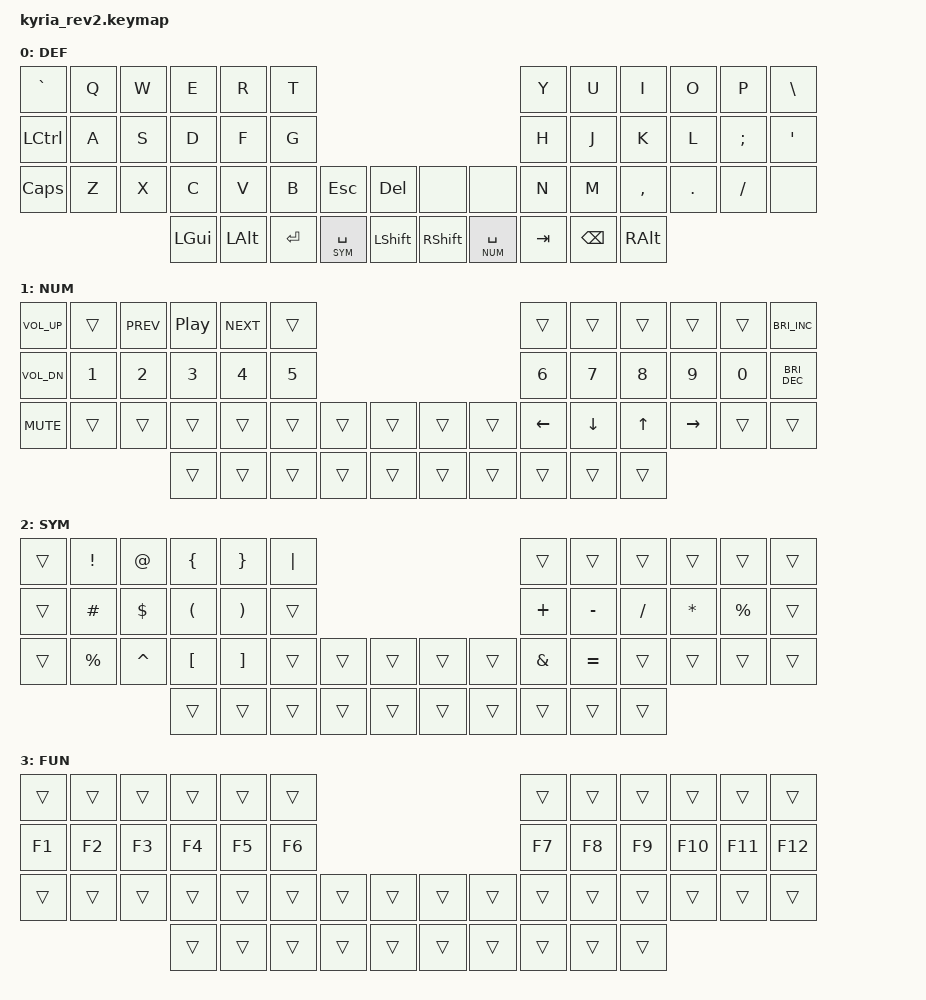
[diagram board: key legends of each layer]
/*
 * Copyright (c) 2020 The ZMK Contributors
 *
 * SPDX-License-Identifier: MIT
 */

#include <behaviors.dtsi>
#include <dt-bindings/zmk/keys.h>

// Layer aliases
#define DEF 0
#define NUM 1
#define SYM 2
#define FUN 3

/ {

	cond_layers {
		compatible = "zmk,conditional-layers";
		// Define FUN layer as tri-state
		func_tristate {
			if-layers = <NUM SYM>;
			then-layer = <FUN>;
		};
	};

	keymap {
		compatible = "zmk,keymap";

		default_layer {
			label = "DEF";
// ---------------------------------------------------------------------------------------------------------------------------------
// |  ~ `  |  Q  |  W  |  E   |  R   |  T   |                                          |  Y   		|  U    |  I    |  O   	|   P   |   \  |
// |  ctrl |  A  |  S  |  D   |  F   |  G   |                                          |  H   		|  J    |  K    |  L   	|   ;   |   '  |
// |  caps |  Z  |  X  |  C   |  V   |  B   | esc     	 | del     |         |         |  N   		|  M    |  ,    |  .   	|   /   |      |
//                     | GUI  | ALT  | RET  |  SPACE/SYM | shift   | 		 |  shift  |  SPACE/NUM | TAB  | BSPC  	| R-ALT |

			bindings = <
	&kp GRAVE   &kp Q &kp W &kp E 		&kp R 		&kp T                                                				&kp Y 	&kp U  		&kp I     &kp O   &kp P    &kp BSLH
	&kp LCTRL   &kp A &kp S &kp D 		&kp F 		&kp G                                                				&kp H 	&kp J  		&kp K     &kp L   &kp SEMI &kp SQT
	&kp CAPS 	&kp Z &kp X &kp C 		&kp V 		&kp B 	&kp ESC 		&kp DEL       &none 		&none 			&kp N 	&kp M  		&kp COMMA &kp DOT &kp FSLH &none
	                 		&kp LGUI 	&kp LALT 	&kp RET &lt SYM SPACE 	&kp LSHIFT    &kp RSHIFT  	&lt NUM SPACE  	&kp TAB &kp BSPC 	&kp RALT
			>;

		};

		number_layer {
			label = "NUM";
// ---------------------------------------------------------------------------------------------------------------------------------
// | volup |     |prev | play | next |      |                                          |      |       |       |      |       | brightup |
// | voldn |  1  |  2  |  3   |  4   |  5   |                                          |  6   |  7    |  8    |  9   |   0   | brightdn |
// |  mute |     |     |      |      |      |         |         |  |         |         | left | down  |  up   |right |       |      |
//                     |      |      |      |         |         |  |         |         |      |       |       |
			bindings = <
	&kp C_VOL_UP	&trans &kp C_PREV 	&kp C_PLAY_PAUSE 	&kp C_NEXT 	&trans                         				&trans 		&trans 		&trans 	&trans  	&trans  &kp C_BRI_INC
	&kp C_VOL_DN   	&kp N1 &kp N2 		&kp N3 				&kp N4 		&kp N5                                      &kp N6 		&kp N7  	&kp N8  &kp N9   	&kp N0 	&kp C_BRI_DEC
	&kp C_MUTE 		&trans &trans 		&trans 				&trans 		&trans &trans &trans        &trans &trans 	&kp LEFT 	&kp DOWN  	&kp UP 	&kp RIGHT 	&trans 	&trans
	                 					&trans  			&trans 		&trans &trans &trans        &trans &trans 	&trans 		&trans 		&trans
			>;

		};

		symbol_layer {
			label = "SYM";
// ---------------------------------------------------------------------------------------------------------------------------------
// |       |  !  |  @  |  {   |  }   |  |   |                                          |      |       |       |      |       |      |
// |       |  #  |  $  |  (   |  )   |      |                                          |  +   |  -    |  /    |  *   |   %   |      |
// |       |  %  |  ^  |  [   |  ]   |      |         |         |  |         |         |  &   |  =    |       |      |       |      |
//                     |      |      |      |         |         |  |         |         |      |       |       |
			bindings = <
	&trans	&kp EXCL 	&kp AT 		&kp LBRC 	&kp RBRC 	&kp PIPE                         				&trans 		&trans  	&trans   	&trans   	&trans    	&trans
	&trans  &kp HASH 	&kp DLLR 	&kp LPAR 	&kp RPAR 	&trans                         					&kp PLUS 	&kp MINUS  	&kp FSLH    &kp STAR   	&kp PERCENT &trans
	&trans  &kp PERCENT &kp CARET 	&kp LBKT 	&kp RBKT 	&trans 	&trans &trans          &trans &trans 	&kp AMPS 	&kp EQUAL 	&trans 		&trans 		&trans 		&trans
	                  				&trans 		&trans 		&trans 	&trans &trans          &trans &trans 	&trans 		&trans 		&trans
			>;

		};

		fn_layer {
			label = "FUN";
// ---------------------------------------------------------------------------------------------------------------------------------
// |       |     |     |      |      |      |                                          |      |       |       |      |       |      |
// |  f1   | f2  | f3  | f4   | f5   |  f6  |                                          | f7   |  f8   |  f9   | f10  |  f11  | f12  |
// |       |     |     |      |      |      |         |         |  |         |         |      |       |       |      |       |      |
//                     |      |      |      |         |         |  |         |         |      |       |       |
			bindings = <
	&trans   &trans	&trans 	&trans &trans &trans                                   		&trans &trans 	&trans 	&trans 	&trans 	&trans     
	&kp F1   &kp F2 &kp F3 	&kp F4 &kp F5 &kp F6                                      	&kp F7 &kp F8  	&kp F9  &kp F10 &kp F11 &kp F12
	&trans   &trans &trans 	&trans &trans &trans &trans &trans          &trans &trans 	&trans &trans 	&trans 	&trans 	&trans 	&trans     
	                 		&trans &trans &trans &trans &trans          &trans &trans 	&trans &trans 	&trans
			>;

		};
	};
};
